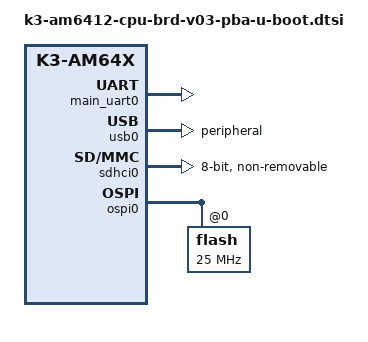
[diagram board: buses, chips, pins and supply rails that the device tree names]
/* U-Boot/SPL handoff fragment for CPU_BRD_V03_PBA_260511. */
#include "k3-am64x-binman.dtsi"
#include "k3-am6412-cpu-brd-v03-pba-u-boot-pinctrl.dtsi"

/ {
	chosen {
		tick-timer = &main_timer0;
	};
};

&main_timer0 {
	clock-frequency = <200000000>;
};

&main_uart0 {
	bootph-all;
	status = "okay";
	pinctrl-names = "default";
	pinctrl-0 = <&uboot_uart0_early_pins_default>;
};

&usb0 {
	dr_mode="peripheral";
	bootph-all;
};

&sdhci0 {
	bootph-all;
	status = "okay";
	bus-width = <8>;
	non-removable;
};

&sdhci1 {
	status = "disabled";
};

&ospi0 {
	bootph-all;
	status = "okay";
	pinctrl-names = "default";
	pinctrl-0 = <&uboot_ospi0_early_pins_default>;

	flash@0 {
		bootph-all;
		spi-tx-bus-width = <1>;
		spi-rx-bus-width = <1>;
		spi-max-frequency = <25000000>;
	};
};

/* TODO: choose final boot priority between eMMC and OSPI for production images. */
/* TODO: add DDR include chain after LPDDR4 timing/training source is finalized. */
/* TODO: add binman/package integration once board boot flow is frozen. */
/* TODO: keep SERDES0 disabled in U-Boot until USB3/PCIe policy is fixed. */
/* TODO: enable octal/DQS profile only after Boot ROM/SPL root cause is resolved. */
